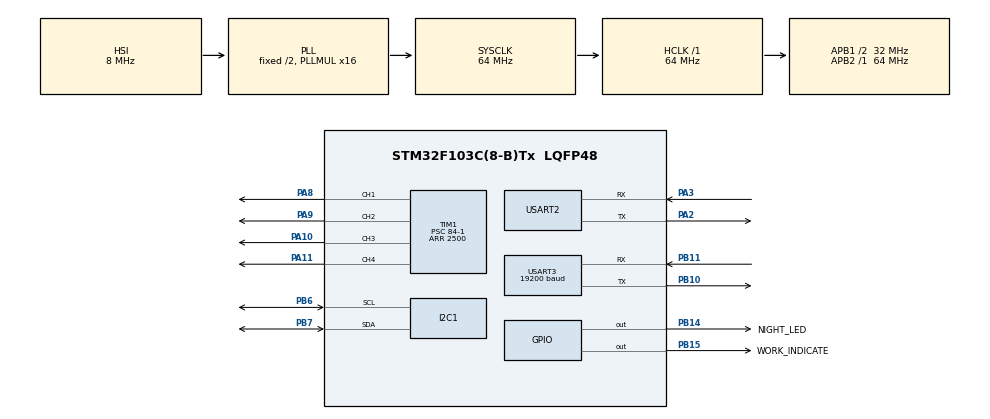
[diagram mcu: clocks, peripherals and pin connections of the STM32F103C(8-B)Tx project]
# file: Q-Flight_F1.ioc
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Mcu.Family=STM32F1
Mcu.Name=STM32F103C(8-B)Tx
Mcu.Package=LQFP48
NVIC.I2C1_ER_IRQn=true\:2\:0\:true\:false\:true\:true\:true
NVIC.I2C1_EV_IRQn=true\:0\:0\:true\:false\:true\:true\:true
NVIC.PriorityGroup=NVIC_PRIORITYGROUP_4
NVIC.TIM2_IRQn=true\:0\:0\:true\:false\:true\:true\:true
NVIC.USART2_IRQn=true\:3\:0\:true\:false\:true\:true\:true
NVIC.USART3_IRQn=true\:0\:0\:true\:false\:true\:true\:true
PA10.Signal=S_TIM1_CH3
PA11.Signal=S_TIM1_CH4
PA13.Mode=Trace_Asynchronous_SW
PA13.Signal=SYS_JTMS-SWDIO
PA14.Mode=Trace_Asynchronous_SW
PA14.Signal=SYS_JTCK-SWCLK
PA2.Mode=Asynchronous
PA2.Signal=USART2_TX
PA3.Mode=Asynchronous
PA3.Signal=USART2_RX
PA8.Signal=S_TIM1_CH1
PA9.Signal=S_TIM1_CH2
PB10.Mode=Asynchronous
PB10.Signal=USART3_TX
PB11.Mode=Asynchronous
PB11.Signal=USART3_RX
PB14.GPIO_Label=NIGHT_LED
PB14.Signal=GPIO_Output
PB15.GPIO_Label=WORK_INDICATE
PB15.GPIO_PuPd=GPIO_NOPULL
PB15.Signal=GPIO_Output
PB3.Mode=Trace_Asynchronous_SW
PB3.Signal=SYS_JTDO-TRACESWO
PB6.Mode=I2C
PB6.Signal=I2C1_SCL
PB7.Mode=I2C
PB7.Signal=I2C1_SDA
ProjectManager.HeapSize=0x200
ProjectManager.StackSize=0x400
ProjectManager.TargetToolchain=MDK-ARM V5.27
RCC.AHBFreq_Value=64000000
RCC.APB1CLKDivider=RCC_HCLK_DIV2
RCC.APB1Freq_Value=32000000
RCC.APB1TimFreq_Value=64000000
RCC.APB2Freq_Value=64000000
RCC.APB2TimFreq_Value=64000000
RCC.HCLKFreq_Value=64000000
RCC.PLLMUL=RCC_PLL_MUL16
RCC.SYSCLKFreq_VALUE=64000000
RCC.SYSCLKSource=RCC_SYSCLKSOURCE_PLLCLK
RCC.USBFreq_Value=64000000
SH.S_TIM1_CH1.0=TIM1_CH1,PWM Generation1 CH1
SH.S_TIM1_CH2.0=TIM1_CH2,PWM Generation2 CH2
SH.S_TIM1_CH3.0=TIM1_CH3,PWM Generation3 CH3
SH.S_TIM1_CH4.0=TIM1_CH4,PWM Generation4 CH4
TIM1.AutoReloadPreload=TIM_AUTORELOAD_PRELOAD_ENABLE
TIM1.Channel-PWM\ Generation1\ CH1=TIM_CHANNEL_1
TIM1.Channel-PWM\ Generation2\ CH2=TIM_CHANNEL_2
TIM1.Channel-PWM\ Generation3\ CH3=TIM_CHANNEL_3
TIM1.Channel-PWM\ Generation4\ CH4=TIM_CHANNEL_4
TIM1.Period=2500
TIM1.Prescaler=84-1
TIM2.AutoReloadPreload=TIM_AUTORELOAD_PRELOAD_ENABLE
TIM2.Period=10000
TIM2.Prescaler=64-1
USART2.VirtualMode=VM_ASYNC
USART3.BaudRate=19200
USART3.VirtualMode=VM_ASYNC
VP_TIM1_VS_ClockSourceINT.Mode=Internal
VP_TIM2_VS_ClockSourceINT.Mode=Internal
board=custom

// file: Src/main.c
/* USER CODE BEGIN Header */
/**
  ******************************************************************************
  * @file           : main.c
  * @brief          : Main program body
  ******************************************************************************
  * @attention
  *
  * <h2><center>&copy; Copyright (c) 2020 STMicroelectronics.
  * All rights reserved.</center></h2>
  *
  * This software component is licensed by ST under BSD 3-Clause license,
  * the "License"; You may not use this file except in compliance with the
  * License. You may obtain a copy of the License at:
  *                        opensource.org/licenses/BSD-3-Clause
  *
  ******************************************************************************
  */
/* USER CODE END Header */

#include "main.h"
#include "i2c.h"
#include "tim.h"
#include "usart.h"
#include "gpio.h"

/* USER CODE BEGIN PV */
uint8_t content[UART_CONTENT_BUFFER_SIZE];
uint8_t Uart_Flag,LC306_Uart_Flag=0;
float pitch_offset=0;
float roll_offset=0;
float control_max_angle=15;
int verbose=0;
uint8_t Light_Toggle;
int num_of_commands,num_of_success_commands;
float quad_control_period=30;
uint8_t Control_Mode=MANUAL_MODE;
extern quadstate_t target_state,current_state;
/* USER CODE END PV */

void SystemClock_Config(void);

int main(void)
{

  /* MCU Configuration--------------------------------------------------------*/

  /* Reset of all peripherals, Initializes the Flash interface and the Systick. */
  HAL_Init();

  /* Configure the system clock */
  SystemClock_Config();

  /* Initialize all configured peripherals */
  MX_GPIO_Init();
  MX_I2C1_Init();
  MX_TIM1_Init();
  MX_TIM2_Init();
  MX_USART2_UART_Init();
  MX_USART3_UART_Init();
  /* USER CODE BEGIN 2 */
	quad_control_period=htim2.Init.Period/1000;
//	LC306_Config_Init_Uart();
//	current_state.position.z=30;
//	while(1){
//
//	}
	MPU9250_Init();
	//必须先初始化Mpu6050！！！！
	Flash_Setting_Init();
	PWN_Init(htim1);
	// PWN_Calibrate_all(htim1);
	printf("Initing...\r\n");
	AHRS_Date_Init();
	PID_ControllerInit();
	SensorInit();
	printf("ok\r\n");
	//开启遥控器中断
	LL_USART_EnableIT_RXNE(REMOTER_USART);
	LL_USART_EnableIT_PE(REMOTER_USART);

	//指示初始化完成
	Work_Indicate(0);
	HAL_TIM_Base_Init(&htim2);
	HAL_TIM_Base_Start_IT(&htim2);
	//MX_IWDG_Init();
  /* USER CODE END 2 */

  /* Infinite loop */
  /* USER CODE BEGIN WHILE */
  while (1)
  {
//			vl5310x_Update();
//		printf("%.2f\r\n",laser_height);
    /* USER CODE END WHILE */

  }
}

void SystemClock_Config(void)
{
  RCC_OscInitTypeDef RCC_OscInitStruct = {0};
  RCC_ClkInitTypeDef RCC_ClkInitStruct = {0};

  /** Initializes the CPU, AHB and APB busses clocks
  */
  RCC_OscInitStruct.OscillatorType = RCC_OSCILLATORTYPE_HSI;
  RCC_OscInitStruct.HSIState = RCC_HSI_ON;
  RCC_OscInitStruct.HSICalibrationValue = RCC_HSICALIBRATION_DEFAULT;
  RCC_OscInitStruct.PLL.PLLState = RCC_PLL_ON;
  RCC_OscInitStruct.PLL.PLLSource = RCC_PLLSOURCE_HSI_DIV2;
  RCC_OscInitStruct.PLL.PLLMUL = RCC_PLL_MUL16;
  if (HAL_RCC_OscConfig(&RCC_OscInitStruct) != HAL_OK)
  {
    Error_Handler();
  }
  /** Initializes the CPU, AHB and APB busses clocks
  */
  RCC_ClkInitStruct.ClockType = RCC_CLOCKTYPE_HCLK|RCC_CLOCKTYPE_SYSCLK
                              |RCC_CLOCKTYPE_PCLK1|RCC_CLOCKTYPE_PCLK2;
  RCC_ClkInitStruct.SYSCLKSource = RCC_SYSCLKSOURCE_PLLCLK;
  RCC_ClkInitStruct.AHBCLKDivider = RCC_SYSCLK_DIV1;
  RCC_ClkInitStruct.APB1CLKDivider = RCC_HCLK_DIV2;
  RCC_ClkInitStruct.APB2CLKDivider = RCC_HCLK_DIV1;

  if (HAL_RCC_ClockConfig(&RCC_ClkInitStruct, FLASH_LATENCY_2) != HAL_OK)
  {
    Error_Handler();
  }
}

/* USER CODE BEGIN 4 */
int fputc(int ch, FILE *f) // ???????
{
	uint8_t temp=ch;
	while (!LL_USART_IsActiveFlag_TXE(REMOTER_USART));
	LL_USART_TransmitData8(REMOTER_USART,temp);
	while (!LL_USART_IsActiveFlag_TC(REMOTER_USART));
	return 0;
}

void HAL_TIM_PeriodElapsedCallback(TIM_HandleTypeDef *htim)
{
   if (htim == (&htim2))
   {

	  Attitude_Update(); // 更新姿态信息
		if(Control_Mode!=REPORT_ONLY_MODE&&Control_Mode!=MANUAL_MODE){
			Altitude_Estimate(); // 更新高度信息，位置由光流直接给出
		}
		Quad_Control();
//		 current_state.position.z=0.5;
//		printf("%.2f  %.2f  %.2f %d \r\n",current_state.position.z,current_state.position.x,current_state.position.y,LC306_Uart_Flag);
		Uart_Flag_Update();
//	HAL_IWDG_Refresh(&hiwdg);
   }
}
/* USER CODE END 4 */

void Error_Handler(void)
{
}

/************************ (C) COPYRIGHT STMicroelectronics *****END OF FILE****/
